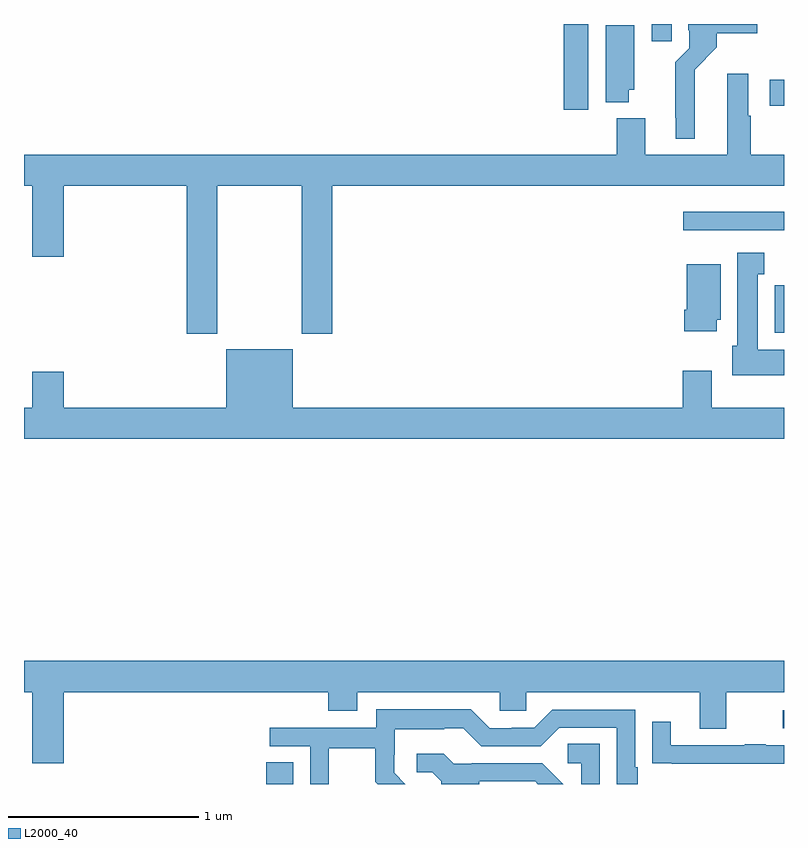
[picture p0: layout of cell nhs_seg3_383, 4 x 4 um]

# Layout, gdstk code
import gdstk
lib = gdstk.Library(unit=1e-6, precision=1e-09)
def R(c, l, rs):  # rectangles x0, y0, x1, y1
    for r in rs: c.add(gdstk.rectangle(r[:2], r[2:], *l))
def P(c, l, *ps):  # polygons
    for p in ps: c.add(gdstk.Polygon(p, *l))
L2000_40 = (2000, 40)

nhs_seg3_383 = lib.new_cell('nhs_seg3_383')
R(nhs_seg3_383, L2000_40, [(130.274,732.4,130.417,732.515), (132.993,732.693,133,732.789), (132.951,734.774,133,735.024), (132.471,735.315,133,735.412), (131.84,735.948,131.971,736.4), (132.924,735.971,133,736.106), (132.305,736.308,132.409,736.4)])
P(nhs_seg3_383, L2000_40, [(132.529,736.16),(132.647,736.278),(132.647,736.352),(132.859,736.352),(132.859,736.4),(132.497,736.4),(132.497,736.366),(132.501,736.366),(132.501,736.272),(132.427,736.198),(132.427,735.907),(132.431,735.907),(132.431,735.797),(132.529,735.797)],
  [(132.184,736.053),(132.211,736.053),(132.211,736.394),(132.062,736.394),(132.062,735.989),(132.184,735.989)],
  [(130.017,735.548),(130.462,735.548),(130.462,734.769),(130.622,734.769),(130.622,735.548),(133,735.548),(133,735.712),(132.824,735.712),(132.824,735.917),(132.811,735.917),(132.811,736.138),(132.701,736.138),(132.701,735.712),(132.271,735.712),(132.271,735.904),(132.119,735.904),(132.119,735.712),(129,735.712),(129,735.548),(129.044,735.548),(129.044,735.174),(129.208,735.174),(129.208,735.548),(129.857,735.548),(129.857,734.769),(130.017,734.769)],
  [(133,734.686),(132.862,734.686),(132.862,735.083),(132.895,735.083),(132.895,735.196),(132.755,735.196),(132.755,734.706),(132.728,734.706),(132.728,734.552),(133,734.552)],
  [(132.646,734.844),(132.667,734.844),(132.667,735.136),(132.488,735.136),(132.488,734.896),(132.476,734.896),(132.476,734.784),(132.646,734.784)],
  [(133,734.38),(132.619,734.38),(132.619,734.575),(132.467,734.575),(132.467,734.38),(130.414,734.38),(130.414,734.689),(130.064,734.689),(130.064,734.38),(129.208,734.38),(129.208,734.569),(129.044,734.569),(129.044,734.38),(129,734.38),(129,734.216),(133,734.216)],
  [(129.208,732.884),(130.601,732.884),(130.601,732.785),(130.753,732.785),(130.753,732.884),(131.505,732.884),(131.505,732.786),(131.643,732.786),(131.643,732.884),(132.557,732.884),(132.557,732.69),(132.697,732.69),(132.697,732.884),(133,732.884),(133,733.048),(129,733.048),(129,732.884),(129.044,732.884),(129.044,732.51),(129.208,732.51)],
  [(130.605,732.588),(130.849,732.588),(130.849,732.413),(130.862,732.4),(131.006,732.4),(130.948,732.458),(130.948,732.555),(130.95,732.555),(130.95,732.689),(131.213,732.689),(131.213,732.693),(131.313,732.693),(131.406,732.6),(131.721,732.6),(131.817,732.696),(132.12,732.696),(132.12,732.4),(132.229,732.4),(132.229,732.487),(132.216,732.487),(132.216,732.792),(131.781,732.792),(131.685,732.696),(131.567,732.696),(131.567,732.693),(131.451,732.693),(131.351,732.793),(130.854,732.793),(130.854,732.696),(130.293,732.696),(130.293,732.6),(130.506,732.6),(130.506,732.4),(130.605,732.4)],
  [(133,732.603),(132.905,732.603),(132.905,732.608),(132.793,732.608),(132.793,732.603),(132.403,732.603),(132.403,732.727),(132.307,732.727),(132.307,732.508),(132.409,732.508),(132.409,732.507),(133,732.507)],
  [(132.03,732.611),(131.862,732.611),(131.862,732.51),(131.934,732.51),(131.934,732.4),(132.03,732.4)],
  [(131.395,732.414),(131.69,732.414),(131.704,732.4),(131.838,732.4),(131.728,732.51),(131.356,732.51),(131.356,732.507),(131.262,732.507),(131.21,732.559),(131.067,732.559),(131.067,732.462),(131.148,732.462),(131.195,732.415),(131.195,732.4),(131.395,732.4)])

lib.write_gds('nhs_seg3_383.gds')
